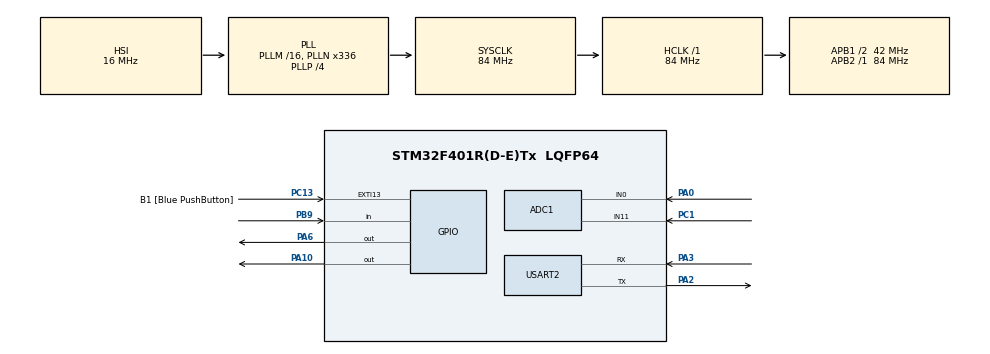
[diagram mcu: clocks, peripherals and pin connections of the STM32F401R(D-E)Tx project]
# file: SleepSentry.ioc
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ADC1.Channel-1\#ChannelRegularConversion=ADC_CHANNEL_0
ADC1.Channel-4\#ChannelRegularConversion=ADC_CHANNEL_0
ADC1.NbrOfConversion=2
ADC1.NbrOfConversionFlag=1
ADC1.Rank-1\#ChannelRegularConversion=1
ADC1.Rank-4\#ChannelRegularConversion=2
ADC1.SamplingTime-1\#ChannelRegularConversion=ADC_SAMPLETIME_3CYCLES
ADC1.SamplingTime-4\#ChannelRegularConversion=ADC_SAMPLETIME_3CYCLES
ADC1.master=1
Dma.ADC1.0.Direction=DMA_PERIPH_TO_MEMORY
Dma.ADC1.0.FIFOMode=DMA_FIFOMODE_DISABLE
Dma.ADC1.0.Instance=DMA2_Stream0
Dma.ADC1.0.MemDataAlignment=DMA_MDATAALIGN_HALFWORD
Dma.ADC1.0.MemInc=DMA_MINC_ENABLE
Dma.ADC1.0.Mode=DMA_CIRCULAR
Dma.ADC1.0.PeriphDataAlignment=DMA_PDATAALIGN_HALFWORD
Dma.ADC1.0.PeriphInc=DMA_PINC_DISABLE
Dma.ADC1.0.Priority=DMA_PRIORITY_LOW
Dma.Request0=ADC1
Mcu.Family=STM32F4
Mcu.Name=STM32F401R(D-E)Tx
Mcu.Package=LQFP64
NVIC.DMA2_Stream0_IRQn=true\:0\:0\:false\:false\:true\:false\:true\:true
NVIC.PriorityGroup=NVIC_PRIORITYGROUP_0
PA0-WKUP.Signal=ADCx_IN0
PA10.Signal=GPIO_Output
PA13.GPIO_Label=TMS
PA13.Mode=Serial_Wire
PA13.Signal=SYS_JTMS-SWDIO
PA14.GPIO_Label=TCK
PA14.Mode=Serial_Wire
PA14.Signal=SYS_JTCK-SWCLK
PA2.Mode=Asynchronous
PA2.Signal=USART2_TX
PA3.Mode=Asynchronous
PA3.Signal=USART2_RX
PA6.Signal=GPIO_Output
PB3.GPIO_Label=SWO
PB3.Signal=SYS_JTDO-SWO
PB9.Signal=GPIO_Input
PC1.Signal=ADCx_IN11
PC13-ANTI_TAMP.GPIO_Label=B1 [Blue PushButton]
PC13-ANTI_TAMP.GPIO_ModeDefaultEXTI=GPIO_MODE_IT_FALLING
PC13-ANTI_TAMP.GPIO_PuPd=GPIO_NOPULL
PC13-ANTI_TAMP.Signal=GPXTI13
PC14-OSC32_IN.Mode=LSE-External-Oscillator
PC14-OSC32_IN.Signal=RCC_OSC32_IN
PC15-OSC32_OUT.Mode=LSE-External-Oscillator
PC15-OSC32_OUT.Signal=RCC_OSC32_OUT
PH0\ -\ OSC_IN.Mode=HSE-External-Clock-Source
PH0\ -\ OSC_IN.Signal=RCC_OSC_IN
PH1\ -\ OSC_OUT.Mode=HSE-External-Clock-Source
PH1\ -\ OSC_OUT.Signal=RCC_OSC_OUT
ProjectManager.HeapSize=0x200
ProjectManager.StackSize=0x400
ProjectManager.TargetToolchain=STM32CubeIDE
RCC.48MHZClocksFreq_Value=48000000
RCC.AHBFreq_Value=84000000
RCC.APB1CLKDivider=RCC_HCLK_DIV2
RCC.APB1Freq_Value=42000000
RCC.APB1TimFreq_Value=84000000
RCC.APB2Freq_Value=84000000
RCC.APB2TimFreq_Value=84000000
RCC.CortexFreq_Value=84000000
RCC.HCLKFreq_Value=84000000
RCC.HSE_VALUE=8000000
RCC.HSI_VALUE=16000000
RCC.PLLN=336
RCC.PLLP=RCC_PLLP_DIV4
RCC.PLLQ=7
RCC.SYSCLKFreq_VALUE=84000000
RCC.SYSCLKSource=RCC_SYSCLKSOURCE_PLLCLK
RCC.VCOOutputFreq_Value=336000000
SH.ADCx_IN0.0=ADC1_IN0,IN0
SH.ADCx_IN11.0=ADC1_IN11,IN11
USART2.VirtualMode=VM_ASYNC
board=NUCLEO-F401RE

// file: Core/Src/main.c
/* USER CODE BEGIN Header */
/**
  ******************************************************************************
  * @file           : main.c
  * @brief          : Main program body
  ******************************************************************************
  * @attention
  *
  * Copyright (c) 2023 STMicroelectronics.
  * All rights reserved.
  *
  * This software is licensed under terms that can be found in the LICENSE file
  * in the root directory of this software component.
  * If no LICENSE file comes with this software, it is provided AS-IS.
  *
  ******************************************************************************
  */
/* USER CODE END Header */
#include "main.h"

/* USER CODE BEGIN Includes */
#include <stdio.h>
#include <string.h>
#include "math.h"
#include "stdbool.h"
/* USER CODE END Includes */

ADC_HandleTypeDef hadc1;
DMA_HandleTypeDef hdma_adc1;

UART_HandleTypeDef huart2;

void SystemClock_Config(void);
static void MX_GPIO_Init(void);
static void MX_DMA_Init(void);
static void MX_ADC1_Init(void);
static void MX_USART2_UART_Init(void);

int main(void)
{
  /* USER CODE BEGIN 1 */
	float temperature_value= {5};
	uint8_t buttonState = {0};

  /* USER CODE END 1 */

  /* MCU Configuration--------------------------------------------------------*/

  /* Reset of all peripherals, Initializes the Flash interface and the Systick. */
  HAL_Init();

  /* Configure the system clock */
  SystemClock_Config();

  /* Initialize all configured peripherals */
  MX_GPIO_Init();
  MX_DMA_Init();
  MX_ADC1_Init();
  MX_USART2_UART_Init();

  /* Infinite loop */
  while (1)
  {

    /* USER CODE BEGIN 3 */

	  HAL_ADC_Start(&hadc1);

	  if (HAL_ADC_PollForConversion(&hadc1, 100) == HAL_OK) {
		  temperature_value = HAL_ADC_GetValue(&hadc1);
		  temperature_value = temperature_value * (3.3/1024);
		  temperature_value = (temperature_value - 0.5) * 10;

		  if (temperature_value > 28) {
			  HAL_GPIO_TogglePin(GPIOA, GPIO_PIN_10);
		  }
	  }

	  uint8_t currentButtonState = HAL_GPIO_ReadPin(GPIOB, GPIO_PIN_9);

	  if (buttonState == GPIO_PIN_SET && currentButtonState == GPIO_PIN_RESET) {
		  HAL_GPIO_TogglePin(GPIOA, GPIO_PIN_6);
	  }

	  buttonState = currentButtonState;

  }
  /* USER CODE END 3 */
}

void SystemClock_Config(void)
{
  RCC_OscInitTypeDef RCC_OscInitStruct = {0};
  RCC_ClkInitTypeDef RCC_ClkInitStruct = {0};

  /** Configure the main internal regulator output voltage
  */
  __HAL_RCC_PWR_CLK_ENABLE();
  __HAL_PWR_VOLTAGESCALING_CONFIG(PWR_REGULATOR_VOLTAGE_SCALE2);

  /** Initializes the RCC Oscillators according to the specified parameters
  * in the RCC_OscInitTypeDef structure.
  */
  RCC_OscInitStruct.OscillatorType = RCC_OSCILLATORTYPE_HSI;
  RCC_OscInitStruct.HSIState = RCC_HSI_ON;
  RCC_OscInitStruct.HSICalibrationValue = RCC_HSICALIBRATION_DEFAULT;
  RCC_OscInitStruct.PLL.PLLState = RCC_PLL_ON;
  RCC_OscInitStruct.PLL.PLLSource = RCC_PLLSOURCE_HSI;
  RCC_OscInitStruct.PLL.PLLM = 16;
  RCC_OscInitStruct.PLL.PLLN = 336;
  RCC_OscInitStruct.PLL.PLLP = RCC_PLLP_DIV4;
  RCC_OscInitStruct.PLL.PLLQ = 7;
  if (HAL_RCC_OscConfig(&RCC_OscInitStruct) != HAL_OK)
  {
    Error_Handler();
  }

  /** Initializes the CPU, AHB and APB buses clocks
  */
  RCC_ClkInitStruct.ClockType = RCC_CLOCKTYPE_HCLK|RCC_CLOCKTYPE_SYSCLK
                              |RCC_CLOCKTYPE_PCLK1|RCC_CLOCKTYPE_PCLK2;
  RCC_ClkInitStruct.SYSCLKSource = RCC_SYSCLKSOURCE_PLLCLK;
  RCC_ClkInitStruct.AHBCLKDivider = RCC_SYSCLK_DIV1;
  RCC_ClkInitStruct.APB1CLKDivider = RCC_HCLK_DIV2;
  RCC_ClkInitStruct.APB2CLKDivider = RCC_HCLK_DIV1;

  if (HAL_RCC_ClockConfig(&RCC_ClkInitStruct, FLASH_LATENCY_2) != HAL_OK)
  {
    Error_Handler();
  }
}

static void MX_ADC1_Init(void)
{

  ADC_ChannelConfTypeDef sConfig = {0};

  /** Configure the global features of the ADC (Clock, Resolution, Data Alignment and number of conversion)
  */
  hadc1.Instance = ADC1;
  hadc1.Init.ClockPrescaler = ADC_CLOCK_SYNC_PCLK_DIV4;
  hadc1.Init.Resolution = ADC_RESOLUTION_12B;
  hadc1.Init.ScanConvMode = ENABLE;
  hadc1.Init.ContinuousConvMode = DISABLE;
  hadc1.Init.DiscontinuousConvMode = DISABLE;
  hadc1.Init.ExternalTrigConvEdge = ADC_EXTERNALTRIGCONVEDGE_NONE;
  hadc1.Init.ExternalTrigConv = ADC_SOFTWARE_START;
  hadc1.Init.DataAlign = ADC_DATAALIGN_RIGHT;
  hadc1.Init.NbrOfConversion = 2;
  hadc1.Init.DMAContinuousRequests = DISABLE;
  hadc1.Init.EOCSelection = ADC_EOC_SINGLE_CONV;
  if (HAL_ADC_Init(&hadc1) != HAL_OK)
  {
    Error_Handler();
  }

  /** Configure for the selected ADC regular channel its corresponding rank in the sequencer and its sample time.
  */
  sConfig.Channel = ADC_CHANNEL_0;
  sConfig.Rank = 1;
  sConfig.SamplingTime = ADC_SAMPLETIME_3CYCLES;
  if (HAL_ADC_ConfigChannel(&hadc1, &sConfig) != HAL_OK)
  {
    Error_Handler();
  }

  /** Configure for the selected ADC regular channel its corresponding rank in the sequencer and its sample time.
  */
  sConfig.Channel = ADC_CHANNEL_11;
  sConfig.Rank = 2;
  if (HAL_ADC_ConfigChannel(&hadc1, &sConfig) != HAL_OK)
  {
    Error_Handler();
  }

}

static void MX_USART2_UART_Init(void)
{

  huart2.Instance = USART2;
  huart2.Init.BaudRate = 115200;
  huart2.Init.WordLength = UART_WORDLENGTH_8B;
  huart2.Init.StopBits = UART_STOPBITS_1;
  huart2.Init.Parity = UART_PARITY_NONE;
  huart2.Init.Mode = UART_MODE_TX_RX;
  huart2.Init.HwFlowCtl = UART_HWCONTROL_NONE;
  huart2.Init.OverSampling = UART_OVERSAMPLING_16;
  if (HAL_UART_Init(&huart2) != HAL_OK)
  {
    Error_Handler();
  }

}

static void MX_DMA_Init(void)
{

  /* DMA controller clock enable */
  __HAL_RCC_DMA2_CLK_ENABLE();

  /* DMA interrupt init */
  /* DMA2_Stream0_IRQn interrupt configuration */
  HAL_NVIC_SetPriority(DMA2_Stream0_IRQn, 0, 0);
  HAL_NVIC_EnableIRQ(DMA2_Stream0_IRQn);

}

static void MX_GPIO_Init(void)
{
  GPIO_InitTypeDef GPIO_InitStruct = {0};

  /* GPIO Ports Clock Enable */
  __HAL_RCC_GPIOC_CLK_ENABLE();
  __HAL_RCC_GPIOH_CLK_ENABLE();
  __HAL_RCC_GPIOA_CLK_ENABLE();
  __HAL_RCC_GPIOB_CLK_ENABLE();

  /*Configure GPIO pin Output Level */
  HAL_GPIO_WritePin(GPIOA, GPIO_PIN_6|GPIO_PIN_10, GPIO_PIN_RESET);

  /*Configure GPIO pin : B1_Pin */
  GPIO_InitStruct.Pin = B1_Pin;
  GPIO_InitStruct.Mode = GPIO_MODE_IT_FALLING;
  GPIO_InitStruct.Pull = GPIO_NOPULL;
  HAL_GPIO_Init(B1_GPIO_Port, &GPIO_InitStruct);

  /*Configure GPIO pins : PA6 PA10 */
  GPIO_InitStruct.Pin = GPIO_PIN_6|GPIO_PIN_10;
  GPIO_InitStruct.Mode = GPIO_MODE_OUTPUT_PP;
  GPIO_InitStruct.Pull = GPIO_NOPULL;
  GPIO_InitStruct.Speed = GPIO_SPEED_FREQ_LOW;
  HAL_GPIO_Init(GPIOA, &GPIO_InitStruct);

  /*Configure GPIO pin : PB9 */
  GPIO_InitStruct.Pin = GPIO_PIN_9;
  GPIO_InitStruct.Mode = GPIO_MODE_INPUT;
  GPIO_InitStruct.Pull = GPIO_NOPULL;
  HAL_GPIO_Init(GPIOB, &GPIO_InitStruct);

}

void Error_Handler(void)
{
  __disable_irq();
  while (1)
  {
  }
}
